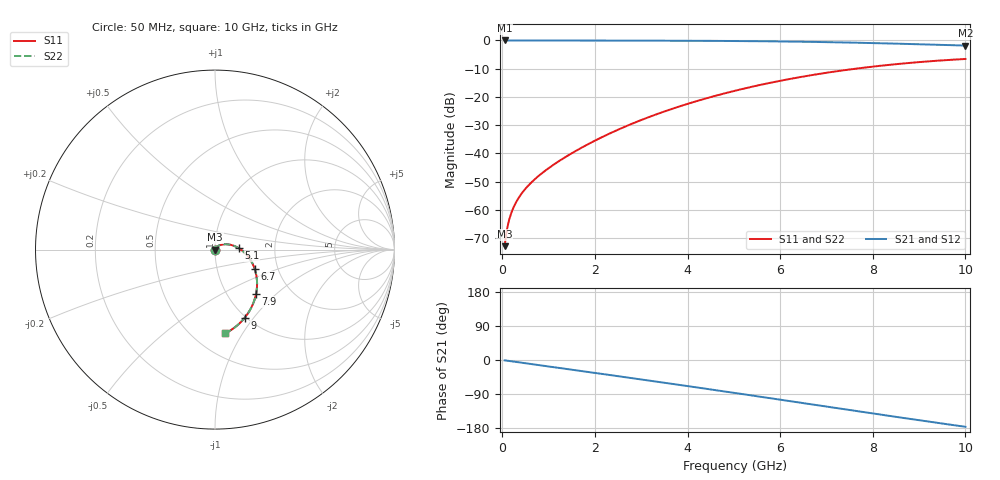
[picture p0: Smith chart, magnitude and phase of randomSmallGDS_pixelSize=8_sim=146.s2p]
! freq	dB(S11)	phase(S11)	dB(S12)	phase(S12)
!  dB(S21)	phase(S21)	dB(S22)	phase(S22)
!S-par simulation data
#  GHz  S  DB  R 50
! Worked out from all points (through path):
!   200 points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, 50 MHz to 10 GHz, reference 50 ohm
!   highest |S21| = 0.00 dB at 50 MHz (marker M1); lowest = -1.8 dB at 10 GHz (marker M2)
!   group delay of S21, straight-line fit = 49.3 ps
!   lowest |S11| = -72.9 dB at 50 MHz (marker M3), VSWR 1.00, Z = 50 + j0.0223 ohm
!   |S11| at or under -10 dB: start of sweep to 7.636 GHz
!   |S22| runs from -72.9 to -6.6 dB; largest |S21 - S12| = 0
!   S11 on the Smith chart (normalised r, x): 50 MHz: 1.00, +0.00; 5.1 GHz: 1.31, +0.02; 6.7 GHz: 1.52, -0.34; 7.9 GHz: 1.35, -0.75; 9 GHz: 0.99, -0.90; 10 GHz: 0.71, -0.84
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0.05  -72.92 81.1  -0.00 -0.9  -0.00 -0.9  -72.92 81.1
0.1  -66.95 84.4  -0.00 -1.7  -0.00 -1.7  -66.95 84.4
0.15  -63.42 85.1  -0.00 -2.6  -0.00 -2.6  -63.42 85.1
0.2  -60.89 85.1  -0.00 -3.4  -0.00 -3.4  -60.89 85.1
0.3  -57.28 84.3  -0.00 -5.2  -0.00 -5.2  -57.28 84.3
0.45  -53.56 82.6  -0.01 -7.7  -0.01 -7.7  -53.56 82.6
0.65  -49.97 79.9  -0.01 -11.1  -0.01 -11.1  -49.97 79.9
0.95  -45.88 75.6  -0.02 -16.2  -0.02 -16.2  -45.88 75.7
1.3  -41.98 70.3  -0.03 -22.2  -0.03 -22.2  -41.98 70.3
1.75  -37.67 63.0  -0.03 -29.8  -0.03 -29.8  -37.67 63.0
2.55  -31.27 49.0  -0.05 -43.5  -0.05 -43.5  -31.27 49.0
3.4  -25.75 33.8  -0.08 -58.3  -0.08 -58.3  -25.75 33.9
4.25  -21.24 18.6  -0.13 -73.2  -0.13 -73.2  -21.24 18.6
5.05  -17.73 4.3  -0.20 -87.5  -0.20 -87.5  -17.73 4.3
5.1  -17.53 3.4  -0.21 -88.4  -0.21 -88.4  -17.53 3.4
5.9  -14.63 -11.1  -0.33 -102.8  -0.33 -102.8  -14.63 -11.1
6.7  -12.23 -25.6  -0.51 -117.4  -0.51 -117.4  -12.23 -25.6
7.3  -10.74 -36.4  -0.68 -128.4  -0.68 -128.4  -10.74 -36.4
7.9  -9.47 -47.1  -0.89 -139.3  -0.89 -139.3  -9.47 -47.1
8.35  -8.65 -55.0  -1.06 -147.4  -1.06 -147.4  -8.65 -55.0
9  -7.67 -66.2  -1.35 -158.9  -1.35 -158.9  -7.67 -66.2
10  -6.56 -82.9  -1.81 -176.3  -1.81 -176.3  -6.56 -82.9
